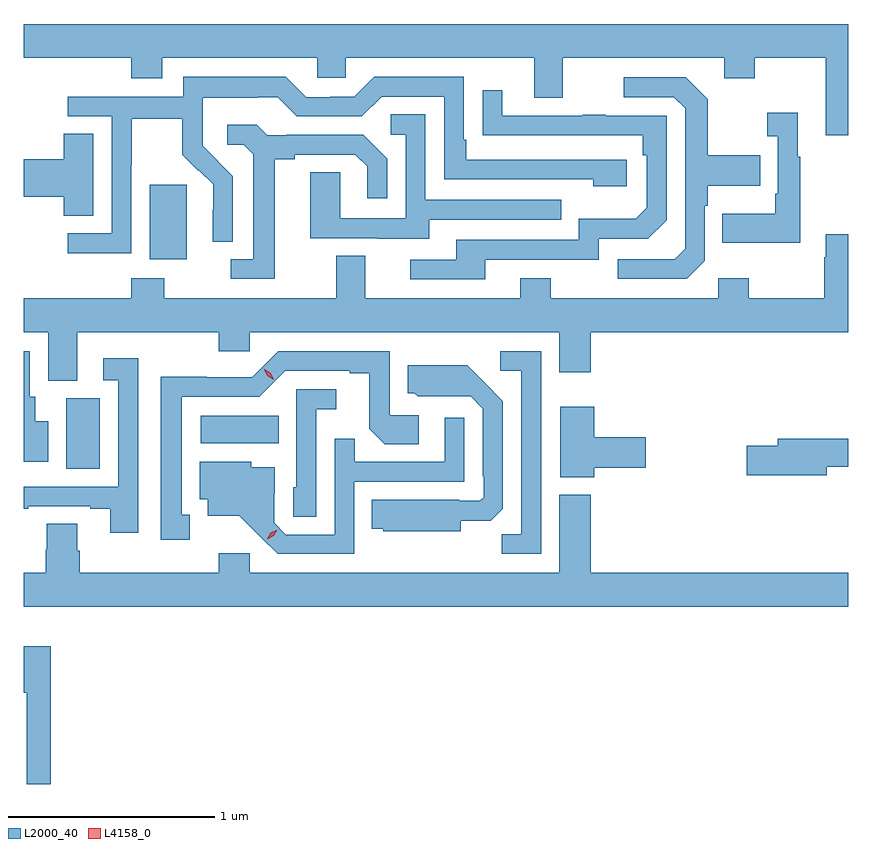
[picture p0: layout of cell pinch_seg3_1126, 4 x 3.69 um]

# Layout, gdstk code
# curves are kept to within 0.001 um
import gdstk
lib = gdstk.Library(unit=1e-6, precision=1e-09)
def R(c, l, rs):  # rectangles x0, y0, x1, y1
    for r in rs: c.add(gdstk.rectangle(r[:2], r[2:], *l))
def P(c, l, *ps):  # polygons
    for p in ps: c.add(gdstk.Polygon(p, *l))
L2000_40 = (2000, 40)
L4158_0 = (4158, 0)

pinch_seg3_1126 = lib.new_cell('pinch_seg3_1126')
R(pinch_seg3_1126, L2000_40, [(323.204,720.232,323.368,720.576), (323.856,720.356,324.236,720.49), (323.609,721.25,323.788,721.611)])
P(pinch_seg3_1126, L2000_40, [(326.999,722.392),(322.999,722.392),(322.999,722.228),(323.519,722.228),(323.519,722.129),(323.671,722.129),(323.671,722.228),(324.423,722.228),(324.423,722.13),(324.561,722.13),(324.561,722.228),(325.475,722.228),(325.475,722.034),(325.615,722.034),(325.615,722.228),(326.399,722.228),(326.399,722.129),(326.547,722.129),(326.547,722.228),(326.891,722.228),(326.891,721.851),(326.999,721.851)],
  [(323.52,721.708),(323.523,721.708),(323.523,721.932),(323.767,721.932),(323.767,721.757),(323.844,721.68),(323.847,721.683),(323.918,721.613),(323.918,721.49),(323.916,721.49),(323.916,721.336),(324.012,721.336),(324.012,721.654),(323.866,721.802),(323.866,721.899),(323.868,721.899),(323.868,722.033),(324.131,722.033),(324.131,722.037),(324.231,722.037),(324.324,721.944),(324.639,721.944),(324.735,722.04),(325.038,722.04),(325.038,721.638),(325.763,721.638),(325.763,721.604),(325.924,721.604),(325.924,721.734),(325.147,721.734),(325.147,721.831),(325.134,721.831),(325.134,722.136),(324.699,722.136),(324.603,722.04),(324.485,722.04),(324.485,722.037),(324.369,722.037),(324.269,722.137),(323.772,722.137),(323.772,722.04),(323.211,722.04),(323.211,721.944),(323.424,721.944),(323.424,721.377),(323.211,721.377),(323.211,721.279),(323.52,721.279)],
  [(326.304,721.242),(326.304,721.511),(326.317,721.511),(326.317,721.607),(326.573,721.607),(326.573,721.755),(326.317,721.755),(326.317,722.027),(326.211,722.133),(325.911,722.133),(325.911,722.037),(326.154,722.037),(326.208,721.983),(326.208,721.302),(326.157,721.251),(325.881,721.251),(325.881,721.155),(326.217,721.155)],
  [(325.237,721.248),(325.788,721.248),(325.788,721.35),(326.028,721.35),(326.118,721.44),(326.118,721.947),(325.823,721.947),(325.823,721.952),(325.711,721.952),(325.711,721.947),(325.321,721.947),(325.321,722.071),(325.225,722.071),(325.225,721.852),(326.002,721.851),(326.002,721.754),(326.022,721.754),(326.022,721.5),(325.969,721.447),(325.692,721.447),(325.692,721.344),(325.097,721.344),(325.097,721.248),(324.873,721.248),(324.873,721.152),(325.237,721.152)],
  [(326.767,721.747),(326.755,721.747),(326.755,721.96),(326.607,721.96),(326.607,721.847),(326.658,721.847),(326.658,721.567),(326.646,721.567),(326.646,721.471),(326.389,721.471),(326.389,721.331),(326.767,721.331)],
  [(324.967,721.443),(325.607,721.443),(325.607,721.539),(324.948,721.539),(324.948,721.955),(324.78,721.955),(324.78,721.854),(324.852,721.854),(324.852,721.449),(324.534,721.449),(324.534,721.673),(324.389,721.673),(324.389,721.353),(324.713,721.353),(324.713,721.349),(324.967,721.349)],
  [(324.217,721.736),(324.313,721.736),(324.313,721.758),(324.608,721.758),(324.665,721.701),(324.665,721.545),(324.762,721.545),(324.762,721.738),(324.646,721.854),(324.274,721.854),(324.274,721.851),(324.18,721.851),(324.128,721.903),(323.985,721.903),(323.985,721.806),(324.066,721.806),(324.113,721.759),(324.113,721.251),(324.003,721.251),(324.003,721.155),(324.217,721.155)],
  [(323.335,721.859),(323.192,721.859),(323.192,721.736),(322.999,721.736),(322.999,721.553),(323.192,721.553),(323.192,721.462),(323.335,721.462)],
  [(323.257,720.896),(323.945,720.896),(323.945,720.803),(324.096,720.803),(324.096,720.896),(325.598,720.896),(325.598,720.702),(325.751,720.702),(325.751,720.896),(326.999,720.896),(326.999,721.372),(326.891,721.372),(326.891,721.259),(326.884,721.259),(326.884,721.06),(326.517,721.06),(326.517,721.159),(326.37,721.159),(326.37,721.06),(325.557,721.06),(325.557,721.159),(325.409,721.159),(325.409,721.06),(324.655,721.06),(324.655,721.268),(324.515,721.268),(324.515,721.06),(323.679,721.06),(323.679,721.159),(323.519,721.159),(323.519,721.06),(322.999,721.06),(322.999,720.896),(323.117,720.896),(323.117,720.661),(323.257,720.661)],
  [(325.509,720.804),(325.311,720.804),(325.311,720.708),(325.413,720.708),(325.413,719.915),(325.318,719.915),(325.318,719.82),(325.509,719.82)],
  [(323.116,720.463),(323.053,720.463),(323.053,720.582),(323.028,720.582),(323.028,720.804),(322.999,720.804),(322.999,720.267),(323.116,720.267)],
  [(323.803,720.009),(323.764,720.009),(323.764,720.582),(324.141,720.582),(324.267,720.708),(324.581,720.708),(324.581,720.696),(324.675,720.696),(324.675,720.428),(324.751,720.352),(324.916,720.352),(324.916,720.492),(324.774,720.492),(324.774,720.804),(324.234,720.804),(324.108,720.678),(323.886,720.678),(323.886,720.68),(323.663,720.68),(323.663,719.889),(323.803,719.889)],
  [(323.553,720.769),(323.385,720.769),(323.385,720.663),(323.457,720.663),(323.457,720.147),(322.999,720.147),(322.999,720.039),(323.021,720.039),(323.021,720.051),(323.321,720.051),(323.321,720.039),(323.417,720.039),(323.417,719.922),(323.553,719.922)],
  [(325.12,719.981),(325.264,719.981),(325.323,720.04),(325.323,720.562),(325.151,720.736),(324.863,720.736),(324.863,720.6),(324.894,720.6),(324.91,720.584),(325.167,720.585),(325.227,720.525),(325.227,720.196),(325.23,720.196),(325.23,720.096),(325.212,720.078),(325.112,720.078),(325.112,720.082),(324.688,720.082),(324.688,719.942),(324.744,719.942),(324.744,719.93),(325.12,719.93)],
  [(324.417,720.521),(324.514,720.521),(324.514,720.618),(324.321,720.618),(324.321,720.144),(324.306,720.144),(324.306,720.001),(324.417,720.001)],
  [(325.768,720.239),(326.017,720.239),(326.017,720.386),(325.768,720.386),(325.768,720.535),(325.601,720.535),(325.601,720.191),(325.768,720.191)],
  [(324.603,720.171),(325.137,720.171),(325.137,720.481),(325.041,720.481),(325.041,720.267),(324.605,720.267),(324.605,720.38),(324.507,720.38),(324.507,719.913),(324.27,719.913),(324.213,719.97),(324.213,720.112),(324.217,720.112),(324.217,720.241),(324.102,720.241),(324.102,720.268),(323.852,720.268),(323.852,720.084),(323.891,720.084),(323.891,720.005),(324.043,720.005),(324.23,719.82),(324.603,719.82)],
  [(326.896,720.244),(326.999,720.244),(326.999,720.38),(326.657,720.38),(326.657,720.344),(326.508,720.344),(326.508,720.202),(326.896,720.202)],
  [(326.999,719.728),(325.751,719.728),(325.751,720.106),(325.598,720.106),(325.598,719.728),(324.096,719.728),(324.096,719.824),(323.945,719.824),(323.945,719.728),(323.27,719.728),(323.27,719.834),(323.257,719.834),(323.257,719.966),(323.11,719.966),(323.11,719.841),(323.105,719.841),(323.105,719.728),(322.999,719.728),(322.999,719.564),(326.999,719.564)],
  [(323.129,719.371),(322.999,719.371),(322.999,719.145),(323.013,719.145),(323.013,718.703),(323.129,718.703)])
P(pinch_seg3_1126, L4158_0, [(324.181,719.892),(324.181,719.893),(324.198,719.922),(324.228,719.938),(324.228,719.938),(324.228,719.938),(324.212,719.908),(324.181,719.892)],
  [(324.211,720.666),(324.18,720.685),(324.163,720.718),(324.163,720.718),(324.163,720.718),(324.195,720.699),(324.212,720.667),(324.212,720.666)])

lib.write_gds('pinch_seg3_1126.gds')
